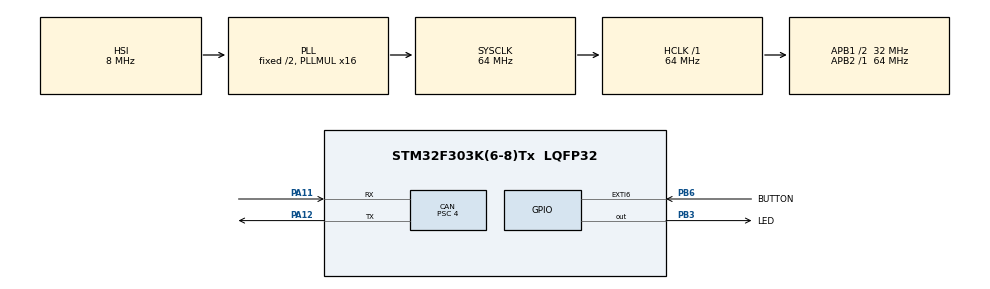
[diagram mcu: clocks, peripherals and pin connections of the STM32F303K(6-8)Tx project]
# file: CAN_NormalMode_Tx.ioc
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CAN.BS1=CAN_BS1_13TQ
CAN.BS2=CAN_BS2_2TQ
CAN.CalculateBaudRate=500000
CAN.CalculateTimeBit=2000
CAN.CalculateTimeQuantum=125.0
CAN.Prescaler=4
Mcu.Family=STM32F3
Mcu.Name=STM32F303K(6-8)Tx
Mcu.Package=LQFP32
NVIC.EXTI9_5_IRQn=true\:0\:0\:false\:false\:true\:true\:true\:true
NVIC.PriorityGroup=NVIC_PRIORITYGROUP_4
PA11.Mode=CAN_Activate
PA11.Signal=CAN_RX
PA12.Mode=CAN_Activate
PA12.Signal=CAN_TX
PA13.Mode=Serial_Wire
PA13.Signal=SYS_JTMS-SWDIO
PA14.Mode=Serial_Wire
PA14.Signal=SYS_JTCK-SWCLK
PB3.GPIO_Label=LED
PB3.Signal=GPIO_Output
PB6.GPIO_Label=BUTTON
PB6.GPIO_PuPd=GPIO_PULLDOWN
PB6.Signal=GPXTI6
ProjectManager.HeapSize=0x200
ProjectManager.StackSize=0x400
ProjectManager.TargetToolchain=STM32CubeIDE
RCC.AHBFreq_Value=64000000
RCC.APB1CLKDivider=RCC_HCLK_DIV2
RCC.APB1Freq_Value=32000000
RCC.APB1TimFreq_Value=64000000
RCC.APB2Freq_Value=64000000
RCC.APB2TimFreq_Value=64000000
RCC.CortexFreq_Value=64000000
RCC.HCLKFreq_Value=64000000
RCC.HSE_VALUE=8000000
RCC.HSI_VALUE=8000000
RCC.PLLMUL=RCC_PLL_MUL16
RCC.SYSCLKFreq_VALUE=64000000
RCC.SYSCLKSourceVirtual=RCC_SYSCLKSOURCE_PLLCLK
board=custom

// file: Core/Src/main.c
/* USER CODE BEGIN Header */
/**
  ******************************************************************************
  * @file           : main.c
  * @brief          : Main program body
  ******************************************************************************
  * @attention
  *
  * Copyright (c) 2023 STMicroelectronics.
  * All rights reserved.
  *
  * This software is licensed under terms that can be found in the LICENSE file
  * in the root directory of this software component.
  * If no LICENSE file comes with this software, it is provided AS-IS.
  *
  ******************************************************************************
  */
/* USER CODE END Header */
#include "main.h"

CAN_HandleTypeDef hcan;

void SystemClock_Config(void);
static void MX_GPIO_Init(void);
static void MX_CAN_Init(void);

/* USER CODE BEGIN 0 */
CAN_TxHeaderTypeDef TxHeader;

uint32_t TxMailbox;

uint8_t TxData[8];

uint8_t flag = 0;

void HAL_GPIO_EXTI_Callback(uint16_t GPIO_Pin)
{
	if(GPIO_Pin == BUTTON_Pin){
		HAL_CAN_AddTxMessage(&hcan, &TxHeader, TxData, &TxMailbox);
		HAL_GPIO_TogglePin(LED_GPIO_Port, LED_Pin);
	}
}
/* USER CODE END 0 */

int main(void)
{

  /* MCU Configuration--------------------------------------------------------*/

  /* Reset of all peripherals, Initializes the Flash interface and the Systick. */
  HAL_Init();

  /* Configure the system clock */
  SystemClock_Config();

  /* Initialize all configured peripherals */
  MX_GPIO_Init();
  MX_CAN_Init();
  /* USER CODE BEGIN 2 */
  HAL_CAN_Start(&hcan);

  TxHeader.DLC = 2;
  TxHeader.ExtId = 0;
  TxHeader.IDE = CAN_ID_STD;
  TxHeader.RTR = CAN_RTR_DATA;
  TxHeader.StdId = 0x303;
  TxHeader.TransmitGlobalTime = DISABLE;

  TxData[0] = 4;
  TxData[1] = 200;

  HAL_CAN_AddTxMessage(&hcan, &TxHeader, TxData, &TxMailbox);
  /* USER CODE END 2 */

  /* Infinite loop */
  while (1)
  {

  }
}

void SystemClock_Config(void)
{
  RCC_OscInitTypeDef RCC_OscInitStruct = {0};
  RCC_ClkInitTypeDef RCC_ClkInitStruct = {0};

  /** Initializes the RCC Oscillators according to the specified parameters
  * in the RCC_OscInitTypeDef structure.
  */
  RCC_OscInitStruct.OscillatorType = RCC_OSCILLATORTYPE_HSI;
  RCC_OscInitStruct.HSIState = RCC_HSI_ON;
  RCC_OscInitStruct.HSICalibrationValue = RCC_HSICALIBRATION_DEFAULT;
  RCC_OscInitStruct.PLL.PLLState = RCC_PLL_ON;
  RCC_OscInitStruct.PLL.PLLSource = RCC_PLLSOURCE_HSI;
  RCC_OscInitStruct.PLL.PLLMUL = RCC_PLL_MUL16;
  if (HAL_RCC_OscConfig(&RCC_OscInitStruct) != HAL_OK)
  {
    Error_Handler();
  }

  /** Initializes the CPU, AHB and APB buses clocks
  */
  RCC_ClkInitStruct.ClockType = RCC_CLOCKTYPE_HCLK|RCC_CLOCKTYPE_SYSCLK
                              |RCC_CLOCKTYPE_PCLK1|RCC_CLOCKTYPE_PCLK2;
  RCC_ClkInitStruct.SYSCLKSource = RCC_SYSCLKSOURCE_PLLCLK;
  RCC_ClkInitStruct.AHBCLKDivider = RCC_SYSCLK_DIV1;
  RCC_ClkInitStruct.APB1CLKDivider = RCC_HCLK_DIV2;
  RCC_ClkInitStruct.APB2CLKDivider = RCC_HCLK_DIV1;

  if (HAL_RCC_ClockConfig(&RCC_ClkInitStruct, FLASH_LATENCY_2) != HAL_OK)
  {
    Error_Handler();
  }
}

static void MX_CAN_Init(void)
{

  hcan.Instance = CAN;
  hcan.Init.Prescaler = 4;
  hcan.Init.Mode = CAN_MODE_NORMAL;
  hcan.Init.SyncJumpWidth = CAN_SJW_1TQ;
  hcan.Init.TimeSeg1 = CAN_BS1_13TQ;
  hcan.Init.TimeSeg2 = CAN_BS2_2TQ;
  hcan.Init.TimeTriggeredMode = DISABLE;
  hcan.Init.AutoBusOff = DISABLE;
  hcan.Init.AutoWakeUp = DISABLE;
  hcan.Init.AutoRetransmission = DISABLE;
  hcan.Init.ReceiveFifoLocked = DISABLE;
  hcan.Init.TransmitFifoPriority = DISABLE;
  if (HAL_CAN_Init(&hcan) != HAL_OK)
  {
    Error_Handler();
  }

}

static void MX_GPIO_Init(void)
{
  GPIO_InitTypeDef GPIO_InitStruct = {0};

  /* GPIO Ports Clock Enable */
  __HAL_RCC_GPIOA_CLK_ENABLE();
  __HAL_RCC_GPIOB_CLK_ENABLE();

  /*Configure GPIO pin Output Level */
  HAL_GPIO_WritePin(LED_GPIO_Port, LED_Pin, GPIO_PIN_RESET);

  /*Configure GPIO pin : LED_Pin */
  GPIO_InitStruct.Pin = LED_Pin;
  GPIO_InitStruct.Mode = GPIO_MODE_OUTPUT_PP;
  GPIO_InitStruct.Pull = GPIO_NOPULL;
  GPIO_InitStruct.Speed = GPIO_SPEED_FREQ_LOW;
  HAL_GPIO_Init(LED_GPIO_Port, &GPIO_InitStruct);

  /*Configure GPIO pin : BUTTON_Pin */
  GPIO_InitStruct.Pin = BUTTON_Pin;
  GPIO_InitStruct.Mode = GPIO_MODE_IT_RISING;
  GPIO_InitStruct.Pull = GPIO_PULLDOWN;
  HAL_GPIO_Init(BUTTON_GPIO_Port, &GPIO_InitStruct);

  /* EXTI interrupt init*/
  HAL_NVIC_SetPriority(EXTI9_5_IRQn, 0, 0);
  HAL_NVIC_EnableIRQ(EXTI9_5_IRQn);

}

void Error_Handler(void)
{
  __disable_irq();
  while (1)
  {
  }
}
